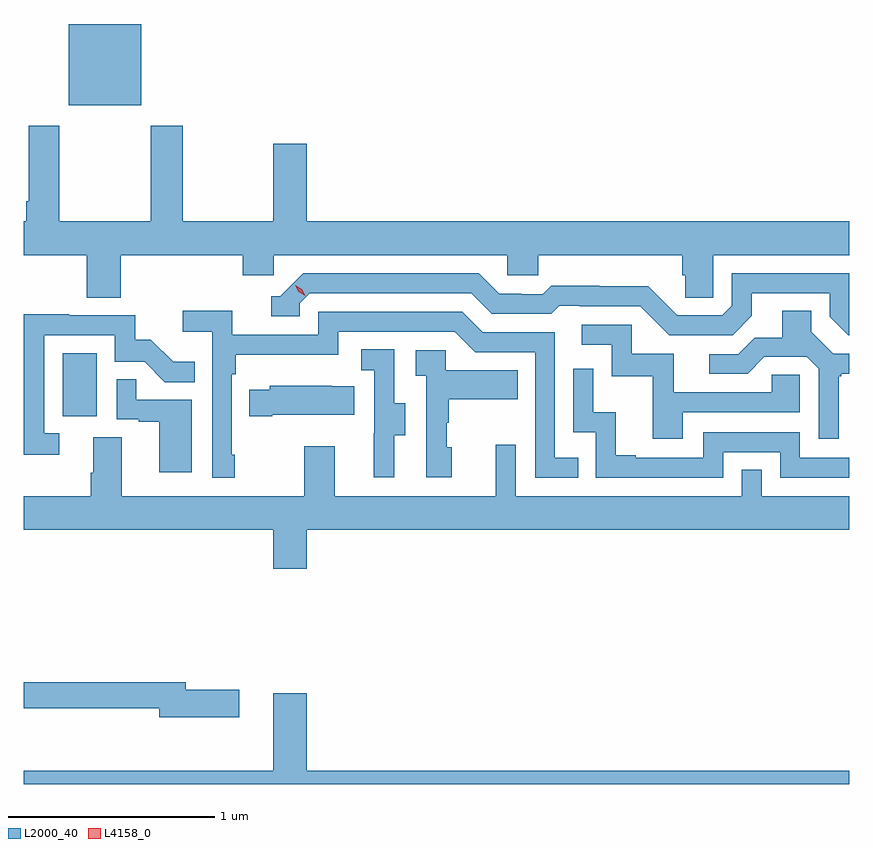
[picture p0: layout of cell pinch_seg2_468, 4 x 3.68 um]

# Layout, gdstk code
import gdstk
lib = gdstk.Library(unit=1e-6, precision=1e-09)
def R(c, l, rs):  # rectangles x0, y0, x1, y1
    for r in rs: c.add(gdstk.rectangle(r[:2], r[2:], *l))
def P(c, l, *ps):  # polygons
    for p in ps: c.add(gdstk.Polygon(p, *l))
L2000_40 = (2000, 40)
L4158_0 = (4158, 0)

pinch_seg2_468 = lib.new_cell('pinch_seg2_468')
R(pinch_seg2_468, L2000_40, [(931.22,585.582,931.384,585.889), (931.25,587.09,931.6,587.484)])
P(pinch_seg2_468, L2000_40, [(931.502,586.364),(932.093,586.364),(932.093,586.266),(932.244,586.266),(932.244,586.364),(933.375,586.364),(933.375,586.266),(933.525,586.266),(933.525,586.364),(934.223,586.364),(934.223,586.266),(934.237,586.266),(934.237,586.156),(934.374,586.156),(934.374,586.364),(935.032,586.364),(935.032,586.528),(932.404,586.528),(932.404,586.903),(932.24,586.903),(932.24,586.528),(931.803,586.528),(931.803,586.99),(931.648,586.99),(931.648,586.528),(931.203,586.528),(931.203,586.99),(931.055,586.99),(931.055,586.624),(931.043,586.624),(931.043,586.528),(931.032,586.528),(931.032,586.364),(931.337,586.364),(931.337,586.156),(931.502,586.156)],
  [(934.561,586.069),(934.561,586.179),(934.938,586.179),(934.938,586.065),(935.028,585.975),(935.032,585.975),(935.032,586.275),(934.464,586.275),(934.464,586.119),(934.416,586.071),(934.2,586.071),(934.058,586.213),(933.822,586.213),(933.822,586.216),(933.589,586.216),(933.547,586.173),(933.444,586.173),(933.444,586.176),(933.337,586.176),(933.238,586.275),(932.385,586.275),(932.274,586.164),(932.231,586.164),(932.231,586.068),(932.37,586.068),(932.37,586.131),(932.418,586.179),(933.201,586.179),(933.3,586.08),(933.589,586.08),(933.628,586.119),(933.727,586.119),(933.727,586.116),(934.02,586.116),(934.161,585.975),(934.467,585.975)],
  [(934.981,585.777),(934.993,585.777),(934.993,585.788),(935.032,585.788),(935.032,585.885),(934.956,585.885),(934.849,585.992),(934.849,586.094),(934.709,586.094),(934.709,585.962),(934.574,585.962),(934.494,585.882),(934.353,585.882),(934.353,585.789),(934.54,585.789),(934.621,585.87),(934.827,585.87),(934.884,585.813),(934.884,585.474),(934.981,585.474)],
  [(932.053,585.397),(932.04,585.397),(932.04,585.785),(932.06,585.785),(932.06,585.881),(932.556,585.881),(932.556,585.993),(933.12,585.993),(933.219,585.894),(933.51,585.894),(933.51,585.285),(933.719,585.285),(933.719,585.381),(933.606,585.381),(933.606,585.99),(933.256,585.99),(933.157,586.089),(932.46,586.089),(932.46,585.978),(932.042,585.978),(932.042,586.094),(931.803,586.094),(931.803,585.992),(931.944,585.992),(931.944,585.285),(932.053,585.285)],
  [(931.204,585.501),(931.131,585.501),(931.131,585.975),(931.473,585.975),(931.473,585.846),(931.617,585.846),(931.715,585.748),(931.859,585.748),(931.859,585.847),(931.755,585.847),(931.648,585.954),(931.572,585.954),(931.572,586.071),(931.253,586.071),(931.253,586.076),(931.032,586.076),(931.032,585.396),(931.204,585.396)],
  [(934.225,585.603),(934.794,585.603),(934.794,585.783),(934.657,585.783),(934.657,585.699),(934.183,585.699),(934.183,585.885),(933.978,585.885),(933.978,586.026),(933.735,586.026),(933.735,585.93),(933.882,585.93),(933.882,585.777),(934.081,585.777),(934.081,585.474),(934.225,585.474)],
  [(932.827,585.49),(932.881,585.49),(932.881,585.645),(932.826,585.645),(932.826,585.908),(932.667,585.908),(932.667,585.805),(932.73,585.805),(932.73,585.501),(932.729,585.501),(932.729,585.288),(932.827,585.288)],
  [(933.106,585.432),(933.081,585.432),(933.081,585.551),(933.091,585.551),(933.091,585.665),(933.425,585.665),(933.425,585.805),(933.078,585.805),(933.078,585.903),(932.931,585.903),(932.931,585.779),(932.982,585.779),(932.982,585.288),(933.106,585.288)],
  [(934.422,585.408),(934.698,585.408),(934.698,585.285),(935.032,585.285),(935.032,585.381),(934.794,585.381),(934.794,585.504),(934.326,585.504),(934.326,585.381),(933.997,585.381),(933.997,585.394),(933.902,585.394),(933.902,585.602),(933.792,585.602),(933.792,585.814),(933.696,585.814),(933.696,585.504),(933.804,585.504),(933.804,585.285),(934.422,585.285)],
  [(931.846,585.663),(931.577,585.663),(931.577,585.761),(931.482,585.761),(931.482,585.567),(931.589,585.567),(931.589,585.555),(931.688,585.555),(931.688,585.312),(931.846,585.312)],
  [(932.236,585.59),(932.633,585.59),(932.633,585.727),(932.525,585.727),(932.525,585.73),(932.223,585.73),(932.223,585.712),(932.125,585.712),(932.125,585.583),(932.236,585.583)],
  [(932.404,585.032),(935.032,585.032),(935.032,585.196),(934.608,585.196),(934.608,585.323),(934.512,585.323),(934.512,585.196),(933.417,585.196),(933.417,585.445),(933.32,585.445),(933.32,585.196),(932.539,585.196),(932.539,585.436),(932.392,585.436),(932.392,585.196),(931.507,585.196),(931.507,585.482),(931.367,585.482),(931.367,585.308),(931.355,585.308),(931.355,585.196),(931.032,585.196),(931.032,585.032),(932.24,585.032),(932.24,584.844),(932.404,584.844)],
  [(932.077,584.258),(931.816,584.258),(931.816,584.294),(931.032,584.294),(931.032,584.166),(931.688,584.166),(931.688,584.123),(932.077,584.123)],
  [(935.032,583.864),(932.404,583.864),(932.404,584.239),(932.24,584.239),(932.24,583.864),(931.032,583.864),(931.032,583.8),(935.032,583.8)])
P(pinch_seg2_468, L4158_0, [(932.395,586.166),(932.364,586.185),(932.347,586.217),(932.347,586.217),(932.348,586.217),(932.378,586.199),(932.395,586.167),(932.395,586.166)])

lib.write_gds('pinch_seg2_468.gds')
